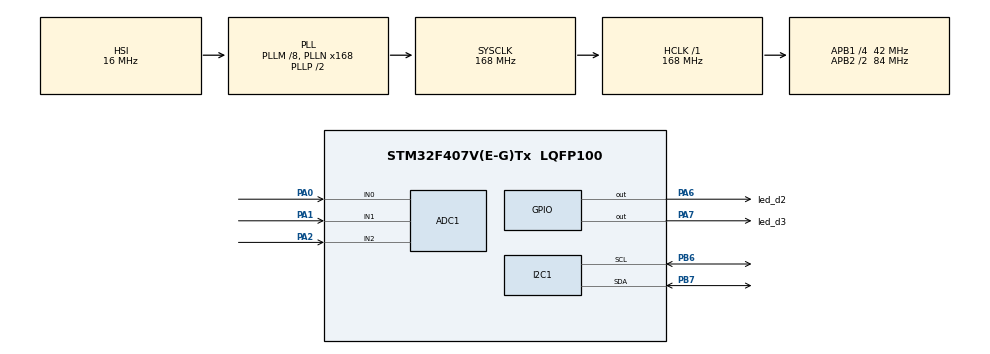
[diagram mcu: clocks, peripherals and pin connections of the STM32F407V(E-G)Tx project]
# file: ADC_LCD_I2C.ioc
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ADC1.Channel-0\#ChannelRegularConversion=ADC_CHANNEL_0
ADC1.Channel-25\#ChannelRegularConversion=ADC_CHANNEL_TEMPSENSOR
ADC1.Channel-27\#ChannelInjectedConversion=ADC_CHANNEL_0
ADC1.Channel-28\#ChannelRegularConversion=ADC_CHANNEL_VREFINT
ADC1.ContinuousConvMode=ENABLE
ADC1.EnableAnalogWatchDog=false
ADC1.InjNumberOfConversion=1
ADC1.InjectedOffset-27\#ChannelInjectedConversion=0
ADC1.InjectedRank-27\#ChannelInjectedConversion=1
ADC1.NbrOfConversion=3
ADC1.NbrOfConversionFlag=1
ADC1.Rank-0\#ChannelRegularConversion=1
ADC1.Rank-25\#ChannelRegularConversion=2
ADC1.Rank-28\#ChannelRegularConversion=3
ADC1.SamplingTime-0\#ChannelRegularConversion=ADC_SAMPLETIME_112CYCLES
ADC1.SamplingTime-25\#ChannelRegularConversion=ADC_SAMPLETIME_112CYCLES
ADC1.SamplingTime-27\#ChannelInjectedConversion=ADC_SAMPLETIME_3CYCLES
ADC1.SamplingTime-28\#ChannelRegularConversion=ADC_SAMPLETIME_112CYCLES
ADC1.master=1
Mcu.Family=STM32F4
Mcu.Name=STM32F407V(E-G)Tx
Mcu.Package=LQFP100
NVIC.PriorityGroup=NVIC_PRIORITYGROUP_4
PA0-WKUP.Signal=ADCx_IN0
PA1.Signal=ADCx_IN1
PA13.Mode=Serial_Wire
PA13.Signal=SYS_JTMS-SWDIO
PA14.Mode=Serial_Wire
PA14.Signal=SYS_JTCK-SWCLK
PA2.Signal=ADCx_IN2
PA6.GPIO_Label=led_d2
PA6.PinState=GPIO_PIN_SET
PA6.Signal=GPIO_Output
PA7.GPIO_Label=led_d3
PA7.PinState=GPIO_PIN_SET
PA7.Signal=GPIO_Output
PB6.Mode=I2C
PB6.Signal=I2C1_SCL
PB7.Mode=I2C
PB7.Signal=I2C1_SDA
PH0-OSC_IN.Mode=HSE-External-Oscillator
PH0-OSC_IN.Signal=RCC_OSC_IN
PH1-OSC_OUT.Mode=HSE-External-Oscillator
PH1-OSC_OUT.Signal=RCC_OSC_OUT
ProjectManager.HeapSize=0x200
ProjectManager.StackSize=0x400
ProjectManager.TargetToolchain=MDK-ARM V5.32
RCC.48MHZClocksFreq_Value=84000000
RCC.AHBFreq_Value=168000000
RCC.APB1CLKDivider=RCC_HCLK_DIV4
RCC.APB1Freq_Value=42000000
RCC.APB1TimFreq_Value=84000000
RCC.APB2CLKDivider=RCC_HCLK_DIV2
RCC.APB2Freq_Value=84000000
RCC.APB2TimFreq_Value=168000000
RCC.CortexFreq_Value=168000000
RCC.HCLKFreq_Value=168000000
RCC.HSE_VALUE=8000000
RCC.HSI_VALUE=16000000
RCC.LSE_VALUE=32768
RCC.PLLM=8
RCC.PLLN=168
RCC.SYSCLKFreq_VALUE=168000000
RCC.SYSCLKSource=RCC_SYSCLKSOURCE_PLLCLK
RCC.VCOOutputFreq_Value=336000000
SH.ADCx_IN0.0=ADC1_IN0,IN0
SH.ADCx_IN1.0=ADC1_IN1,IN1
SH.ADCx_IN2.0=ADC1_IN2,IN2
VP_ADC1_TempSens_Input.Mode=IN-TempSens
VP_ADC1_Vref_Input.Mode=IN-Vrefint
board=custom

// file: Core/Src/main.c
/* USER CODE BEGIN Header */
/**
  ******************************************************************************
  * @file           : main.c
  * @brief          : Main program body
  ******************************************************************************
  * @attention
  *
  * Copyright (c) 2023 STMicroelectronics.
  * All rights reserved.
  *
  * This software is licensed under terms that can be found in the LICENSE file
  * in the root directory of this software component.
  * If no LICENSE file comes with this software, it is provided AS-IS.
  *
  ******************************************************************************
  */
/* USER CODE END Header */
#include "main.h"
#include "adc.h"
#include "i2c.h"
#include "gpio.h"

/* USER CODE BEGIN Includes */
#include <stdio.h>
#include "i2c-lcd.h"
/* USER CODE END Includes */

/* USER CODE BEGIN PV */
uint32_t value_adc1 = 0;// khoi tao tung bien , gan vao chanel
uint32_t value_adc2 = 0;
uint32_t value_adc3 = 0;
int Vol,Temp =0 ;
int dem=0;
int rank1=0;
int number;
int number1;
int thousands;
int hundreds ;
int tens ;
int units;
char so_xxxx[4];

/* USER CODE END PV */

void SystemClock_Config(void);

int main(void)
{

  /* MCU Configuration--------------------------------------------------------*/

  /* Reset of all peripherals, Initializes the Flash interface and the Systick. */
  HAL_Init();

  /* Configure the system clock */
  SystemClock_Config();

  /* Initialize all configured peripherals */
  MX_GPIO_Init();
  MX_ADC1_Init();
  MX_I2C1_Init();
  /* USER CODE BEGIN 2 */
	 HAL_Delay(1000);
	 lcd_init ();

  /* USER CODE END 2 */

  /* Infinite loop */
  while (1)
	{

    /* USER CODE BEGIN 3 */
		unsigned short data_adc[16]; // regular 16 yc chuyen doi
		HAL_ADC_Start(&hadc1);// DUNG regular, DA SET UP 3 KENH , CHANEL 0>3
		HAL_ADC_PollForConversion(&hadc1,HAL_MAX_DELAY);
		for(int i =0; i< 2;i++)
		{
			dem ++;
			value_adc1 = HAL_ADC_GetValue(&hadc1);
			data_adc[i] = value_adc1;
			HAL_Delay(100);
		}
		HAL_ADC_Stop(&hadc1);// ket thuc regular

		HAL_ADCEx_InjectedStart(&hadc1);// DANG DUNG Injected, 1 KENH CHANEL 0
		rank1 = HAL_ADCEx_InjectedGetValue(&hadc1,ADC_INJECTED_RANK_1);

		// phia duoi la in gia tri
		printf("Gia tri dem:  %d \n",dem);// dem
		printf("Gia tri VOL: %d \n",rank1); 	// gia tri rank1 cua injected
		printf("Gia tri vol:  %d \n",data_adc[0]); // gia tri chanel 0 cua regular
		printf("Gia tri nhiet do: %d \n",data_adc[1]);// gia tri chanel 1cua regular
		printf("Gia tri VREFINT: %d \n",data_adc[2]);// gia tri chanel 2cua regular
		printf ("--------------\n");
		HAL_Delay(100);

		// HIEN THI  LEN LCD
		Temp = (int)data_adc[1];
		Vol = (int) rank1;

	// HIEN THI binh thuong  bien tro LEN LCD
		char buffer[20];
		number = Vol;
		lcd_put_cur(0,0);
		sprintf (buffer,"D:%d ", Vol);
		lcd_send_string (buffer);
		HAL_Delay(500);

		//4 so ,co so 0, bien tro LEN LCD
		lcd_put_cur(0,7);
		sprintf (buffer,"DA:%d ", number);
		thousands = number / 1000;
		hundreds = (number % 1000) / 100;
		tens = (number % 100) / 10;
		units = number % 10;
		lcd_send_data(thousands + '0');
		lcd_send_data(hundreds + '0');
		lcd_send_data(tens + '0');
		lcd_send_data(units + '0');
		HAL_Delay(500);

		//xoa so 0, bien tro LEN LCD
		lcd_put_cur(0,12);
		sprintf (buffer,"DA:%d ", number);
		thousands = number / 1000;
		hundreds = (number % 1000) / 100;
	  tens = (number % 100) / 10;
	  units = number % 10;
		so_xxxx[0] = thousands + '0';//CONG so '0' vo , de chuyen so nguyen thanh KY ACSII
		so_xxxx[1] = hundreds + '0';
		so_xxxx[2] = tens + '0';
		so_xxxx[3] = units + '0';
		if (thousands == 0)
		{
			so_xxxx[0] = 32;// so 32 theo ma ACSII la khoang trang , neu ngan =0 thi chen khoang trang vo
			if (hundreds == 0)
			{
				so_xxxx[1] = 32;
				if (tens == 0)
				{
					so_xxxx[2] = 32;
				}
			}
		}
		lcd_send_data(so_xxxx[0]);
		lcd_send_data(so_xxxx[1]);
		lcd_send_data(so_xxxx[2]);
		lcd_send_data(so_xxxx[3]);
		HAL_Delay(500);

		 // HIEN THI BINH THUONG NHIET DO LEN LCD
		number1 = Temp;
		sprintf (buffer,"T:%d", Temp);
		lcd_put_cur(1,0);
		lcd_send_string (buffer);
		HAL_Delay(500);

		//4 so ,co so 0, CUA NHIET DO LEN LCD
		lcd_put_cur(1,6);
		sprintf (buffer,"DA:%d ", number1);
		thousands = number1 / 1000;
		hundreds = (number1 % 1000) / 100;
		tens = (number1 % 100) / 10;
		units = number1 % 10;
		lcd_send_data(thousands + '0');// de chuyen kieu sp nguyen >> ma ACSII
		lcd_send_data(hundreds + '0');
		lcd_send_data(tens + '0');
		lcd_send_data(units + '0');
		HAL_Delay(500);

		//4 so ,XOA SO 0 CUA NHIET DO LEN LCD
		lcd_put_cur(1,10);
		sprintf (buffer,"DA:%d ", number);
		thousands = number1 / 1000;
		hundreds = (number1 % 1000) / 100;
	  tens = (number1 % 100) / 10;
	  units = number1 % 10;
		so_xxxx[0] = thousands + '0';
		so_xxxx[1] = hundreds + '0';
		so_xxxx[2] = tens + '0';
		so_xxxx[3] = units + '0';
		if (thousands == 0)
		{
			so_xxxx[0] = 32;
			if (hundreds == 0)
			{
				so_xxxx[1] = 32;
				if (tens == 0)
				{
					so_xxxx[2] = 32;
				}
			}
		}
		lcd_send_data(so_xxxx[0]);
		lcd_send_data(so_xxxx[1]);
		lcd_send_data(so_xxxx[2]);
		lcd_send_data(so_xxxx[3]);
		HAL_Delay(500);

  }

  /* USER CODE END 3 */
}

void SystemClock_Config(void)
{
  RCC_OscInitTypeDef RCC_OscInitStruct = {0};
  RCC_ClkInitTypeDef RCC_ClkInitStruct = {0};

  /** Configure the main internal regulator output voltage
  */
  __HAL_RCC_PWR_CLK_ENABLE();
  __HAL_PWR_VOLTAGESCALING_CONFIG(PWR_REGULATOR_VOLTAGE_SCALE1);

  /** Initializes the RCC Oscillators according to the specified parameters
  * in the RCC_OscInitTypeDef structure.
  */
  RCC_OscInitStruct.OscillatorType = RCC_OSCILLATORTYPE_HSI;
  RCC_OscInitStruct.HSIState = RCC_HSI_ON;
  RCC_OscInitStruct.HSICalibrationValue = RCC_HSICALIBRATION_DEFAULT;
  RCC_OscInitStruct.PLL.PLLState = RCC_PLL_ON;
  RCC_OscInitStruct.PLL.PLLSource = RCC_PLLSOURCE_HSI;
  RCC_OscInitStruct.PLL.PLLM = 8;
  RCC_OscInitStruct.PLL.PLLN = 168;
  RCC_OscInitStruct.PLL.PLLP = RCC_PLLP_DIV2;
  RCC_OscInitStruct.PLL.PLLQ = 4;
  if (HAL_RCC_OscConfig(&RCC_OscInitStruct) != HAL_OK)
  {
    Error_Handler();
  }

  /** Initializes the CPU, AHB and APB buses clocks
  */
  RCC_ClkInitStruct.ClockType = RCC_CLOCKTYPE_HCLK|RCC_CLOCKTYPE_SYSCLK
                              |RCC_CLOCKTYPE_PCLK1|RCC_CLOCKTYPE_PCLK2;
  RCC_ClkInitStruct.SYSCLKSource = RCC_SYSCLKSOURCE_PLLCLK;
  RCC_ClkInitStruct.AHBCLKDivider = RCC_SYSCLK_DIV1;
  RCC_ClkInitStruct.APB1CLKDivider = RCC_HCLK_DIV4;
  RCC_ClkInitStruct.APB2CLKDivider = RCC_HCLK_DIV2;

  if (HAL_RCC_ClockConfig(&RCC_ClkInitStruct, FLASH_LATENCY_5) != HAL_OK)
  {
    Error_Handler();
  }
}

void Error_Handler(void)
{
  __disable_irq();
  while (1)
  {
  }
}
